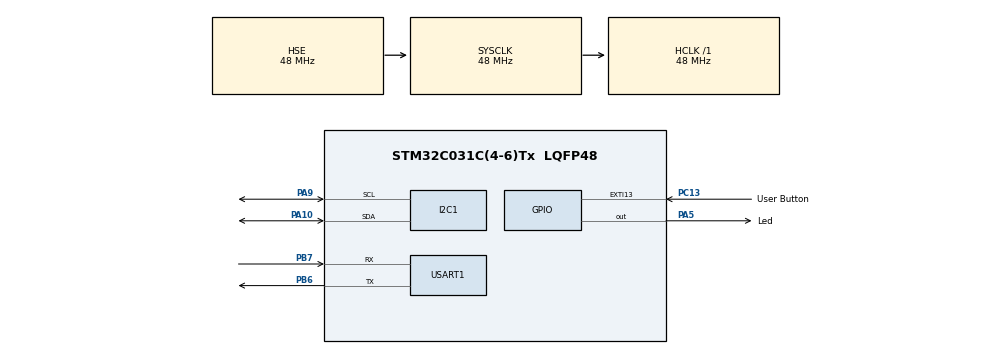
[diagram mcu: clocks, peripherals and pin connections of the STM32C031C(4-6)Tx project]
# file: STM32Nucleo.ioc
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I2C1.Timing=0x10805D88
Mcu.Family=STM32C0
Mcu.Name=STM32C031C(4-6)Tx
Mcu.Package=LQFP48
NVIC.EXTI4_15_IRQn=true\:0\:0\:false\:false\:true\:true\:true\:true
NVIC.TIM14_IRQn=true\:1\:0\:true\:false\:true\:true\:true\:true
NVIC.TIM3_IRQn=true\:1\:0\:true\:false\:true\:true\:true\:true
PA10.GPIO_FMPA10=__NULL
PA10.GPIO_Mode=GPIO_MODE_AF_OD
PA10.GPIO_Pu=GPIO_PULLUP
PA10.GPIO_Speed=GPIO_SPEED_FREQ_LOW
PA10.Mode=I2C
PA10.Signal=I2C1_SDA
PA13.GPIO_Label=DEBUG_SWDIO
PA13.Signal=DEBUG_SWDIO
PA14-BOOT0.GPIO_Label=DEBUG_SWCLK
PA14-BOOT0.Signal=DEBUG_SWCLK
PA2.GPIO_Label=VCP_USART2_TX
PA2.Signal=USART2_TX
PA3.GPIO_Label=VCP_USART2_RX
PA3.Signal=USART2_RX
PA5.GPIO_Label=Led
PA5.GPIO_Speed=GPIO_SPEED_FREQ_VERY_HIGH
PA5.PinState=GPIO_PIN_SET
PA5.Signal=GPIO_Output
PA9.GPIO_FMPA9=__NULL
PA9.GPIO_Mode=GPIO_MODE_AF_OD
PA9.GPIO_Pu=GPIO_PULLUP
PA9.GPIO_Speed=GPIO_SPEED_FREQ_LOW
PA9.Mode=I2C
PA9.Signal=I2C1_SCL
PB6.GPIO_PuPd=GPIO_PULLUP
PB6.Mode=Asynchronous
PB6.Signal=USART1_TX
PB7.GPIO_PuPd=GPIO_PULLUP
PB7.Mode=Asynchronous
PB7.Signal=USART1_RX
PC13.GPIO_Label=User Button
PC13.GPIO_ModeDefaultEXTI=GPIO_MODE_IT_RISING_FALLING
PC13.GPIO_PuPd=GPIO_NOPULL
PC13.Signal=GPXTI13
PC14-OSCX_IN\ (PC14).GPIO_Label=RCC_OSCX_IN
PC14-OSCX_IN\ (PC14).Mode=LSE-External-Oscillator
PC14-OSCX_IN\ (PC14).Signal=RCC_OSCX_IN
PC15-OSCX_OUT\ (PC15).GPIO_Label=RCC_OSCX_OUT
PC15-OSCX_OUT\ (PC15).Mode=LSE-External-Oscillator
PC15-OSCX_OUT\ (PC15).Signal=RCC_OSCX_OUT
PF0-OSC_IN\ (PF0).GPIO_Label=RCC_OSC_IN
PF0-OSC_IN\ (PF0).Mode=HSE-External-Oscillator
PF0-OSC_IN\ (PF0).Signal=RCC_OSC_IN
PF1-OSC_OUT\ (PF1).GPIO_Label=RCC_OSC_OUT
PF1-OSC_OUT\ (PF1).Mode=HSE-External-Oscillator
PF1-OSC_OUT\ (PF1).Signal=RCC_OSC_OUT
ProjectManager.HeapSize=0x200
ProjectManager.StackSize=0x400
ProjectManager.TargetToolchain=STM32CubeIDE
RCC.ADCFreq_Value=48000000
RCC.AHBFreq_Value=48000000
RCC.CortexFreq_Value=48000000
RCC.EXTERNAL_CLOCK_VALUE=12288000
RCC.HCLKFreq_Value=48000000
RCC.HSE_VALUE=48000000
RCC.HSISYSCLKDivider=RCC_HSI_DIV1
RCC.HSI_VALUE=48000000
RCC.SYSCLKFreq_VALUE=48000000
RCC.SYSCLKSource=RCC_SYSCLKSOURCE_HSE
TIM14.Period=10000
TIM17.Prescaler=48000-1
TIM3.CounterMode=TIM_COUNTERMODE_UP
TIM3.Period=10000
TIM3.Prescaler=4799
USART1.VirtualMode-Asynchronous=VM_ASYNC
VP_TIM14_VS_ClockSourceINT.Mode=Enable_Timer
VP_TIM17_VS_ClockSourceINT.Mode=Enable_Timer
VP_TIM3_VS_ClockSourceINT.Mode=Internal
board=NUCLEO-C031C6

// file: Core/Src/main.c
/* USER CODE BEGIN Header */
/**
 ******************************************************************************
 * @file           : main.c
 * @brief          : Main program body
 ******************************************************************************
 * @attention
 *
 * Copyright (c) 2026 STMicroelectronics.
 * All rights reserved.
 *
 * This software is licensed under terms that can be found in the LICENSE file
 * in the root directory of this software component.
 * If no LICENSE file comes with this software, it is provided AS-IS.
 *
 ******************************************************************************
 */
/* USER CODE END Header */
#include "main.h"

/* USER CODE BEGIN Includes */
#include <stdio.h>
#include "esp8266ex_driver.h"
#include "lcd.h"
#include "config_private.h"
/* USER CODE END Includes */

/* USER CODE BEGIN PD */
#define BUSY 1
#define FREE 0

#define MODE_TIME		0
#define MODE_WEATHER	1
/* USER CODE END PD */

I2C_HandleTypeDef hi2c1;

TIM_HandleTypeDef htim3;
TIM_HandleTypeDef htim14;
TIM_HandleTypeDef htim17;

UART_HandleTypeDef huart1;

/* USER CODE BEGIN PV */
RTC_Time_t current_time;
RTC_Date_t current_date;

Weather weather;

uint8_t is_fetching_data_from_server = FREE;
uint8_t is_update_digital_clock = FREE;
uint8_t is_update_weather = FREE;

uint8_t modes[2] = {MODE_TIME, MODE_WEATHER};
uint8_t current_mode_index = 0;
uint8_t mode_changed = 0; // Used to clear LCD screen one time upon mode changes
/* USER CODE END PV */

void SystemClock_Config(void);
static void MX_GPIO_Init(void);
static void MX_USART1_UART_Init(void);
static void MX_I2C1_Init(void);
static void MX_TIM3_Init(void);
static void MX_TIM14_Init(void);
static void MX_TIM17_Init(void);
/* USER CODE BEGIN PFP */
extern void initialise_monitor_handles(void);
/* USER CODE END PFP */

/* USER CODE BEGIN 0 */
char* get_day_of_week(uint8_t i)
{
	char* days[] = {"Mon", "Tue", "Wed", "Thu", "Fri", "Sat", "Sun"};
	return days[i-1];
}

void number_to_string(uint8_t num, char* buf)
{
	if(num < 10)
	{
		buf[0] = '0';
		buf[1] = num + 48;
	}
	else if (num >= 10 && num < 99)
	{
		buf[0] = (num/10) + 48;
		buf[1] = (num%10) + 48;
	}
}

char* time_to_string(RTC_Time_t *rtc_time)
{
	static char buf[9]; // Static because of dangling pointer; once function pops out of stack the value is lost
	buf[2] = ':';
	buf[5] = ':';

	number_to_string(rtc_time->hours, buf);
	number_to_string(rtc_time->minutes, &buf[3]);
	number_to_string(rtc_time->seconds, &buf[6]);

	buf[8] = '\0';

	return buf;

}

char* date_to_string(RTC_Date_t *rtc_date)
{
	static char buf[9]; // Static because of dangling pointer; once function pops out of stack the value is lost
	buf[2] = '/';
	buf[5] = '/';

	number_to_string(rtc_date->month, buf);
	number_to_string(rtc_date->date, &buf[3]);
	number_to_string(rtc_date->year, &buf[6]);

	return buf;
}

void delay_us(uint32_t us)
{
	__HAL_TIM_SET_COUNTER(&htim3, 0);
	HAL_TIM_Base_Start(&htim3);
	while (htim3.Instance->CNT < us);
	HAL_TIM_Base_Stop(&htim3);
}

void initialize_wifi()
{
	//	esp8266ex_firmware_version(&huart1);
	lcd_display_clear();
	lcd_set_cursor(1,1);
	lcd_print_string("ESP8266 to mode:");
	lcd_set_cursor(2,1);
	lcd_print_string("Station");
	esp8266ex_wifi_mode(&huart1, ESP8266EX_MODE_STATION);

	lcd_display_clear();
	lcd_set_cursor(1,1);
	lcd_print_string("Connecting to");
	lcd_set_cursor(2,1);
	lcd_print_string(WIFI_SSID);
	esp8266ex_connect_ap(&huart1, WIFI_SSID, WIFI_PASSWORD);
}

void get_time_wifi()
{
	if(ds1307_init())
	{
		while(1); // TODO: Handle Failure
	}
	Clock clock;

	lcd_display_clear();
	lcd_set_cursor(1,1);
	lcd_print_string("Connecting to");
	lcd_set_cursor(2,1);
	lcd_print_string(SERVER_IP);
	esp8266ex_cipstart(&huart1, ESP8266EX_TRANSPORT_TCP, SERVER_IP, SERVER_PORT);

	lcd_display_clear();
	lcd_set_cursor(1,1);
	lcd_print_string("Getting time...");

	clock = esp8266ex_get_time(&huart1);
	current_time = clock.time;
	current_date = clock.date;
	ds1307_set_current_date(&current_date);
	ds1307_set_current_time(&current_time);
}

void get_weather_wifi()
{
	lcd_display_clear();
	lcd_set_cursor(1,1);
	lcd_print_string("Connecting to");
	lcd_set_cursor(2,1);
	lcd_print_string(SERVER_IP);
	esp8266ex_cipstart(&huart1, ESP8266EX_TRANSPORT_TCP, SERVER_IP, SERVER_PORT);

	lcd_display_clear();
	lcd_set_cursor(1,1);
	lcd_print_string("Getting weather");
	lcd_set_cursor(2,1);
	lcd_print_string("from ");
	lcd_print_string(ZIP_CODE);

	weather = esp8266ex_get_weather(&huart1);
}

void update_digital_clock()
{
	RTC_Time_t current_time;
	RTC_Date_t current_date;

	ds1307_get_current_time(&current_time);
	ds1307_get_current_date(&current_date);

	lcd_set_cursor(1,1);
	char *am_pm;
	if(current_time.time_format != TIME_FORMAT_24HRS)
	{
		am_pm = (current_time.time_format) ? "PM" : "AM";
		lcd_print_string(time_to_string(&current_time));
		lcd_print_string(am_pm);
	}
	else
	{
		lcd_print_string(time_to_string(&current_time));
	}

	lcd_set_cursor(2, 1);
	lcd_print_string(date_to_string(&current_date));
	lcd_print_char('<');
	lcd_print_string(get_day_of_week(current_date.day));
	lcd_print_char('>');
}

void update_weather()
{
	lcd_set_cursor(1,1);
	lcd_print_string("Temp: ");
	lcd_print_string(weather.temperature);
	lcd_print_string("F");

	lcd_set_cursor(2,1);
	lcd_print_string("Humidity: ");
	lcd_print_string(weather.humidity);
}

/* USER CODE END 0 */

int main(void)
{

  /* MCU Configuration--------------------------------------------------------*/

  /* Reset of all peripherals, Initializes the Flash interface and the Systick. */
  HAL_Init();

  /* Configure the system clock */
  SystemClock_Config();

  /* Initialize all configured peripherals */
  MX_GPIO_Init();
  MX_USART1_UART_Init();
  MX_I2C1_Init();
  MX_TIM3_Init();
  MX_TIM14_Init();
  MX_TIM17_Init();
  /* USER CODE BEGIN 2 */

//	initialise_monitor_handles(); // ONLY FOR DEBUGGING
	lcd_init();
	HAL_Delay(2000);
	lcd_display_clear();
	lcd_set_cursor(1,1);

//	initialize_wifi();

	lcd_display_clear();
	if (HAL_TIM_Base_Start_IT(&htim14) != HAL_OK) // Start global interrupt every 1 second
	{
		/* Starting Error */
		Error_Handler();
	}
  /* USER CODE END 2 */

  /* Infinite loop */
	while (1)
	{

    /* USER CODE BEGIN 3 */
		if(mode_changed)
		{
			lcd_display_clear();
			mode_changed = 0;
		}

		if(is_fetching_data_from_server == BUSY)
		{
			get_time_wifi();
			get_weather_wifi();

			is_fetching_data_from_server = FREE;
			lcd_display_clear();
			lcd_set_cursor(1,1);
		}
		else if (is_fetching_data_from_server == FREE)
		{
			if(modes[current_mode_index] == MODE_TIME)
			{
				if(is_update_digital_clock == BUSY)
				{
					update_digital_clock();
					is_update_digital_clock = FREE;
				}
			}
			else if(modes[current_mode_index] == MODE_WEATHER)
			{
				update_weather();
			}
		}
	}
  /* USER CODE END 3 */
}

void SystemClock_Config(void)
{
  RCC_OscInitTypeDef RCC_OscInitStruct = {0};
  RCC_ClkInitTypeDef RCC_ClkInitStruct = {0};

  __HAL_FLASH_SET_LATENCY(FLASH_LATENCY_1);

  /** Initializes the RCC Oscillators according to the specified parameters
  * in the RCC_OscInitTypeDef structure.
  */
  RCC_OscInitStruct.OscillatorType = RCC_OSCILLATORTYPE_HSE;
  RCC_OscInitStruct.HSEState = RCC_HSE_ON;
  if (HAL_RCC_OscConfig(&RCC_OscInitStruct) != HAL_OK)
  {
    Error_Handler();
  }

  /** Initializes the CPU, AHB and APB buses clocks
  */
  RCC_ClkInitStruct.ClockType = RCC_CLOCKTYPE_HCLK|RCC_CLOCKTYPE_SYSCLK
                              |RCC_CLOCKTYPE_PCLK1;
  RCC_ClkInitStruct.SYSCLKSource = RCC_SYSCLKSOURCE_HSE;
  RCC_ClkInitStruct.SYSCLKDivider = RCC_SYSCLK_DIV1;
  RCC_ClkInitStruct.AHBCLKDivider = RCC_HCLK_DIV1;
  RCC_ClkInitStruct.APB1CLKDivider = RCC_APB1_DIV1;

  if (HAL_RCC_ClockConfig(&RCC_ClkInitStruct, FLASH_LATENCY_1) != HAL_OK)
  {
    Error_Handler();
  }
}

static void MX_I2C1_Init(void)
{

  hi2c1.Instance = I2C1;
  hi2c1.Init.Timing = 0x10805D88;
  hi2c1.Init.OwnAddress1 = 0;
  hi2c1.Init.AddressingMode = I2C_ADDRESSINGMODE_7BIT;
  hi2c1.Init.DualAddressMode = I2C_DUALADDRESS_DISABLE;
  hi2c1.Init.OwnAddress2 = 0;
  hi2c1.Init.OwnAddress2Masks = I2C_OA2_NOMASK;
  hi2c1.Init.GeneralCallMode = I2C_GENERALCALL_DISABLE;
  hi2c1.Init.NoStretchMode = I2C_NOSTRETCH_DISABLE;
  if (HAL_I2C_Init(&hi2c1) != HAL_OK)
  {
    Error_Handler();
  }

  /** Configure Analogue filter
  */
  if (HAL_I2CEx_ConfigAnalogFilter(&hi2c1, I2C_ANALOGFILTER_ENABLE) != HAL_OK)
  {
    Error_Handler();
  }

  /** Configure Digital filter
  */
  if (HAL_I2CEx_ConfigDigitalFilter(&hi2c1, 0) != HAL_OK)
  {
    Error_Handler();
  }

}

static void MX_TIM3_Init(void)
{

  TIM_ClockConfigTypeDef sClockSourceConfig = {0};
  TIM_MasterConfigTypeDef sMasterConfig = {0};

  htim3.Instance = TIM3;
  htim3.Init.Prescaler = 4799;
  htim3.Init.CounterMode = TIM_COUNTERMODE_UP;
  htim3.Init.Period = 10000;
  htim3.Init.ClockDivision = TIM_CLOCKDIVISION_DIV1;
  htim3.Init.AutoReloadPreload = TIM_AUTORELOAD_PRELOAD_DISABLE;
  if (HAL_TIM_Base_Init(&htim3) != HAL_OK)
  {
    Error_Handler();
  }
  sClockSourceConfig.ClockSource = TIM_CLOCKSOURCE_INTERNAL;
  if (HAL_TIM_ConfigClockSource(&htim3, &sClockSourceConfig) != HAL_OK)
  {
    Error_Handler();
  }
  sMasterConfig.MasterOutputTrigger = TIM_TRGO_RESET;
  sMasterConfig.MasterSlaveMode = TIM_MASTERSLAVEMODE_DISABLE;
  if (HAL_TIMEx_MasterConfigSynchronization(&htim3, &sMasterConfig) != HAL_OK)
  {
    Error_Handler();
  }

}

static void MX_TIM14_Init(void)
{

  htim14.Instance = TIM14;
  htim14.Init.Prescaler = 0;
  htim14.Init.CounterMode = TIM_COUNTERMODE_UP;
  htim14.Init.Period = 10000;
  htim14.Init.ClockDivision = TIM_CLOCKDIVISION_DIV1;
  htim14.Init.AutoReloadPreload = TIM_AUTORELOAD_PRELOAD_DISABLE;
  if (HAL_TIM_Base_Init(&htim14) != HAL_OK)
  {
    Error_Handler();
  }

}

static void MX_TIM17_Init(void)
{

  htim17.Instance = TIM17;
  htim17.Init.Prescaler = 48000-1;
  htim17.Init.CounterMode = TIM_COUNTERMODE_UP;
  htim17.Init.Period = 65535;
  htim17.Init.ClockDivision = TIM_CLOCKDIVISION_DIV1;
  htim17.Init.RepetitionCounter = 0;
  htim17.Init.AutoReloadPreload = TIM_AUTORELOAD_PRELOAD_DISABLE;
  if (HAL_TIM_Base_Init(&htim17) != HAL_OK)
  {
    Error_Handler();
  }

}

static void MX_USART1_UART_Init(void)
{

  huart1.Instance = USART1;
  huart1.Init.BaudRate = 115200;
  huart1.Init.WordLength = UART_WORDLENGTH_8B;
  huart1.Init.StopBits = UART_STOPBITS_1;
  huart1.Init.Parity = UART_PARITY_NONE;
  huart1.Init.Mode = UART_MODE_TX_RX;
  huart1.Init.HwFlowCtl = UART_HWCONTROL_NONE;
  huart1.Init.OverSampling = UART_OVERSAMPLING_16;
  huart1.Init.OneBitSampling = UART_ONE_BIT_SAMPLE_DISABLE;
  huart1.Init.ClockPrescaler = UART_PRESCALER_DIV1;
  huart1.AdvancedInit.AdvFeatureInit = UART_ADVFEATURE_NO_INIT;
  if (HAL_UART_Init(&huart1) != HAL_OK)
  {
    Error_Handler();
  }
  if (HAL_UARTEx_SetTxFifoThreshold(&huart1, UART_TXFIFO_THRESHOLD_1_8) != HAL_OK)
  {
    Error_Handler();
  }
  if (HAL_UARTEx_SetRxFifoThreshold(&huart1, UART_RXFIFO_THRESHOLD_1_8) != HAL_OK)
  {
    Error_Handler();
  }
  if (HAL_UARTEx_DisableFifoMode(&huart1) != HAL_OK)
  {
    Error_Handler();
  }

}

static void MX_GPIO_Init(void)
{
  GPIO_InitTypeDef GPIO_InitStruct = {0};

  /* GPIO Ports Clock Enable */
  __HAL_RCC_GPIOC_CLK_ENABLE();
  __HAL_RCC_GPIOF_CLK_ENABLE();
  __HAL_RCC_GPIOA_CLK_ENABLE();
  __HAL_RCC_GPIOB_CLK_ENABLE();

  /*Configure GPIO pin Output Level */
  HAL_GPIO_WritePin(Led_GPIO_Port, Led_Pin, GPIO_PIN_SET);

  /*Configure GPIO pin : User_Button_Pin */
  GPIO_InitStruct.Pin = User_Button_Pin;
  GPIO_InitStruct.Mode = GPIO_MODE_IT_RISING_FALLING;
  GPIO_InitStruct.Pull = GPIO_NOPULL;
  HAL_GPIO_Init(User_Button_GPIO_Port, &GPIO_InitStruct);

  /*Configure GPIO pins : VCP_USART2_TX_Pin VCP_USART2_RX_Pin */
  GPIO_InitStruct.Pin = VCP_USART2_TX_Pin|VCP_USART2_RX_Pin;
  GPIO_InitStruct.Mode = GPIO_MODE_AF_PP;
  GPIO_InitStruct.Pull = GPIO_NOPULL;
  GPIO_InitStruct.Speed = GPIO_SPEED_FREQ_LOW;
  GPIO_InitStruct.Alternate = GPIO_AF1_USART2;
  HAL_GPIO_Init(GPIOA, &GPIO_InitStruct);

  /*Configure GPIO pin : Led_Pin */
  GPIO_InitStruct.Pin = Led_Pin;
  GPIO_InitStruct.Mode = GPIO_MODE_OUTPUT_PP;
  GPIO_InitStruct.Pull = GPIO_NOPULL;
  GPIO_InitStruct.Speed = GPIO_SPEED_FREQ_VERY_HIGH;
  HAL_GPIO_Init(Led_GPIO_Port, &GPIO_InitStruct);

  /* EXTI interrupt init*/
  HAL_NVIC_SetPriority(EXTI4_15_IRQn, 0, 0);
  HAL_NVIC_EnableIRQ(EXTI4_15_IRQn);

}

/* USER CODE BEGIN 4 */
void TIM_IRQHandler() // Called in stm32c0xx_it.c
{
	if(is_update_digital_clock == FREE && (modes[current_mode_index] == MODE_TIME))
		is_update_digital_clock = BUSY;
//	if(is_update_weather == FREE) is_update_weather = BUSY;
}

void HAL_GPIO_EXTI_Falling_Callback(uint16_t GPIO_Pin)
{
	if (GPIO_Pin == User_Button_Pin)
	{
		// Start TIM17
		__HAL_TIM_SET_COUNTER(&htim17, 0);
		HAL_TIM_Base_Start(&htim17);
	}
}

void HAL_GPIO_EXTI_Rising_Callback(uint16_t GPIO_Pin)
{
	uint32_t elapsed_time = htim17.Instance->CNT; // elapsed_time(ms)
	if(GPIO_Pin == User_Button_Pin)
	{
		if (elapsed_time < 3000)
		{
			(++current_mode_index);
			current_mode_index %= sizeof(modes);
			mode_changed = 1;
		}
		else if (elapsed_time < 10000) // 3-10 seconds
		{
			is_fetching_data_from_server = BUSY;
		}
		HAL_TIM_Base_Stop(&htim17);
	}
}
/* USER CODE END 4 */

void Error_Handler(void)
{
	__disable_irq();
	while (1)
	{
	}
}
